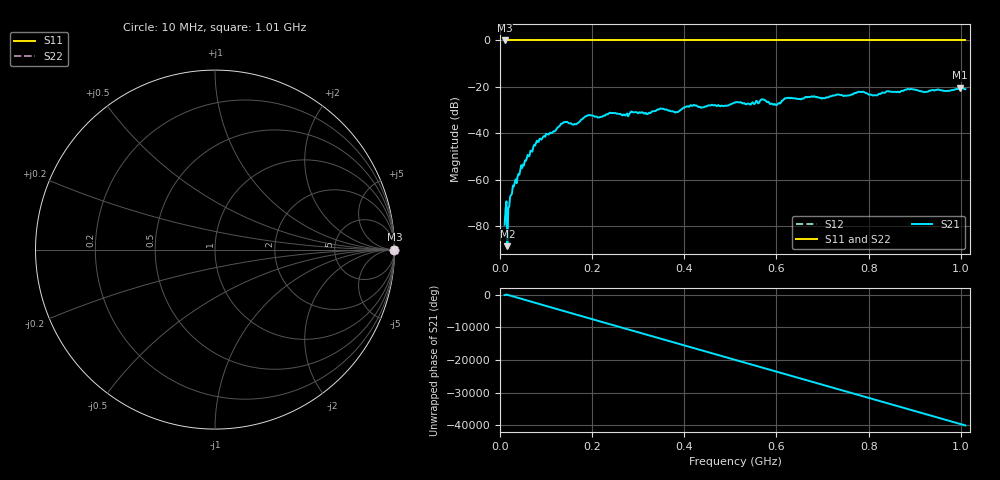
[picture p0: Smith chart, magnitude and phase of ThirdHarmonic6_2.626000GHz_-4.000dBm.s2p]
! 8/17/2025 5:50:23 AM
! C:\ANRITSUVNA\TEMP\TEMP.S2P
! CHANNEL.1
! TR.MEASUREMENT
! RAW.DATA
! RF.CORRECTION.OFF
! AVERAGING.OFF
! IF.BANDWIDTH: 5KHZ
! SWEEPTYPE:  FREQ.SWEEP(Linear)
! Reference Plane Port Info
! PORT:  PORT1  PORT2
! DISTANCE:  0  m  0  m
! TIME:  0  s  0  s
! PHASE.OFFSET:  0  deg.  0  deg.
! LOSS:  0  dB  0  dB
! REF.LOSS:  0  dB  0  dB
! REF.FREQ:  0  Hz  0  Hz
! Power Info
! POWER:  -20  dBm  -20  dBm
! EFF.POWER:  -20  dBm  -20  dBm
! SOURCE.ATTEN:  0  dB  0  dB
! TEST.ATTEN:  0  dB  0  dB
# GHZ S RI R 50.0
! FREQ.GHZ  S11RE  S11IM  S21RE  S21IM  S12RE  S12IM  S22RE  S22IM
!; PortSelection: Port_12
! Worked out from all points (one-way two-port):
!   501 points, 10 MHz to 1.01 GHz, reference 50 ohm
!   highest |S21| = -20.36 dB at 998 MHz (marker M1); lowest = -88.7 dB at 16 MHz (marker M2)
!   lowest |S11| = 0.0 dB at 10 MHz (marker M3)
!   |S11| at or under -10 dB: nowhere
!   |S22| runs from 0.0 to 0.0 dB; largest |S21 - S12| = 1.1
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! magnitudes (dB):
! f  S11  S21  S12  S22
! 10 MHz  0.0  -79.4  0.0  0.0
! 16 MHz  0.0  -88.7  0.0  0.0
! 20 MHz  0.0  -71.6  0.0  0.0
! 30 MHz  0.0  -62.9  0.0  0.0
! 42 MHz  0.0  -57.8  0.0  0.0
! 76 MHz  0.0  -45.3  0.0  0.0
! 136 MHz  0.0  -35.7  0.0  0.0
! 162 MHz  0.0  -36.0  0.0  0.0
! 178 MHz  0.0  -34.0  0.0  0.0
! 192 MHz  0.0  -32.2  0.0  0.0
! 322 MHz  0.0  -31.4  0.0  0.0
! 344 MHz  0.0  -29.8  0.0  0.0
! 382 MHz  0.0  -30.9  0.0  0.0
! 418 MHz  0.0  -28.2  0.0  0.0
! 510 MHz  0.0  -26.7  0.0  0.0
! 570 MHz  0.0  -25.4  0.0  0.0
! 598 MHz  0.0  -27.7  0.0  0.0
! 622 MHz  0.0  -24.8  0.0  0.0
! 678 MHz  0.0  -24.2  0.0  0.0
! 844 MHz  0.0  -22.0  0.0  0.0
! 998 MHz  0.0  -20.4  0.0  0.0
! 1.01 GHz  0.0  -21.0  0.0  0.0
